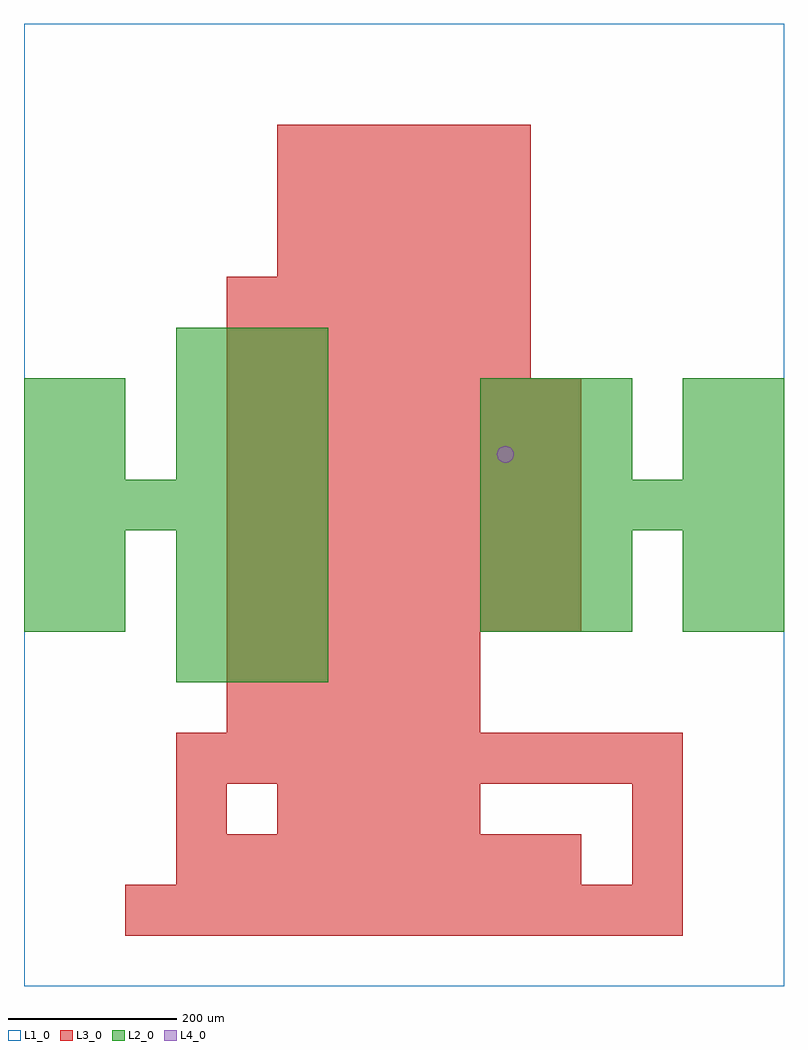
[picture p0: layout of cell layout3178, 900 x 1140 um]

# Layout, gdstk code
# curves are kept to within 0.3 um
import gdstk
lib = gdstk.Library(unit=1e-6, precision=1e-09)
def R(c, l, rs):  # rectangles x0, y0, x1, y1
    for r in rs: c.add(gdstk.rectangle(r[:2], r[2:], *l))
def A(c, l, x, y, w, h, nx, ny, dx, dy):  # array of equal rectangles
    R(c, l, [(x+i*dx, y+j*dy, x+i*dx+w, y+j*dy+h) for i in range(nx) for j in range(ny)])
def P(c, l, *ps):  # polygons
    for p in ps: c.add(gdstk.Polygon(p, *l))
L1_0 = (1, 0)
L2_0 = (2, 0)
L3_0 = (3, 0)
L4_0 = (4, 0)

layout3178 = lib.new_cell('layout3178')
R(layout3178, L1_0, [(0,0,900,1140)])
A(layout3178, L2_0, 180, 360, 60, 60, 3, 3, 60, 60)
A(layout3178, L2_0, 540, 420, 60, 60, 3, 2, 60, 60)
A(layout3178, L2_0, 0, 540, 60, 60, 6, 1, 60, 0)
A(layout3178, L2_0, 540, 540, 60, 60, 6, 1, 60, 0)
A(layout3178, L2_0, 180, 600, 60, 60, 3, 3, 60, 60)
A(layout3178, L2_0, 540, 600, 60, 60, 3, 2, 60, 60)
R(layout3178, L2_0, [(0,420,60,480), (60,420,120,480), (780,420,840,480), (840,420,900,480), (0,480,60,540), (60,480,120,540), (780,480,840,540), (840,480,900,540), (0,600,60,660), (60,600,120,660), (780,600,840,660), (840,600,900,660), (0,660,60,720), (60,660,120,720), (780,660,840,720), (840,660,900,720)])
A(layout3178, L3_0, 120, 60, 60, 60, 11, 1, 60, 0)
A(layout3178, L3_0, 180, 120, 60, 60, 8, 1, 60, 0)
A(layout3178, L3_0, 300, 180, 60, 60, 4, 1, 60, 0)
A(layout3178, L3_0, 180, 240, 60, 60, 10, 1, 60, 0)
A(layout3178, L3_0, 240, 300, 60, 60, 5, 2, 60, 60)
A(layout3178, L3_0, 240, 420, 60, 60, 7, 5, 60, 60)
A(layout3178, L3_0, 240, 720, 60, 60, 6, 2, 60, 60)
A(layout3178, L3_0, 300, 840, 60, 60, 5, 3, 60, 60)
R(layout3178, L3_0, [(720,120,780,180), (180,180,240,240), (720,180,780,240)])
P(layout3178, L4_0, [(580,630),(579.239,633.827),(577.071,637.071),(573.827,639.239),(570,640),(566.173,639.239),(562.929,637.071),(560.761,633.827),(560,630),(560.761,626.173),(562.929,622.929),(566.173,620.761),(570,620),(573.827,620.761),(577.071,622.929),(579.239,626.173)])

lib.write_gds('layout3178.gds')
